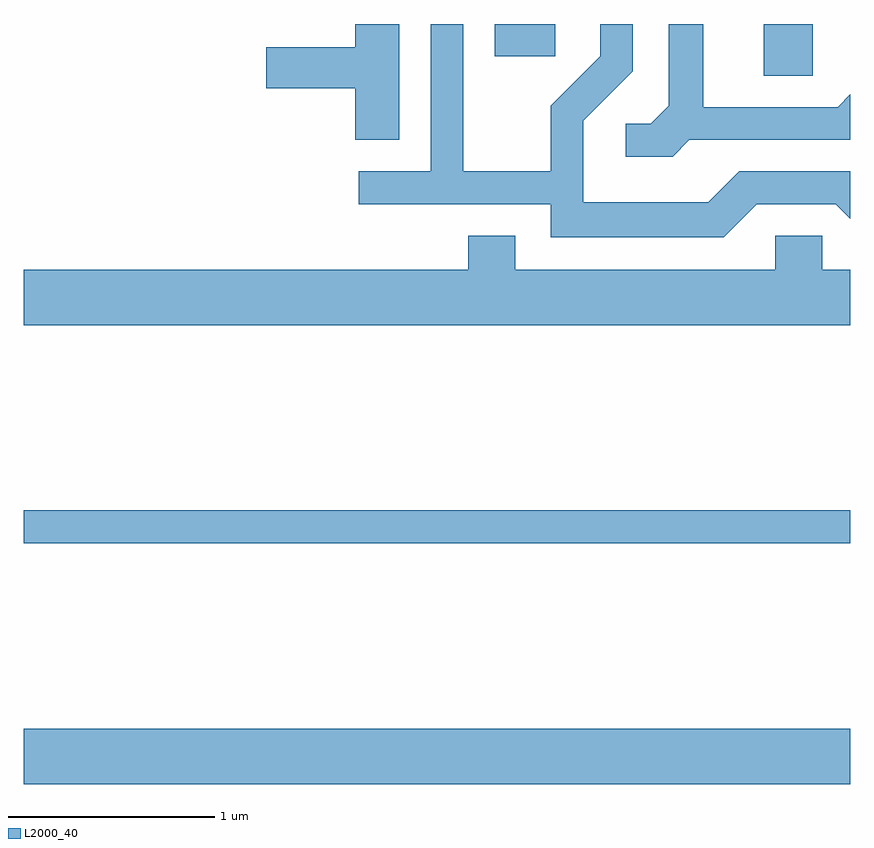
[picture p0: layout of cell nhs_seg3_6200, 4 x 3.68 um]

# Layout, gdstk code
import gdstk
lib = gdstk.Library(unit=1e-6, precision=1e-09)
def R(c, l, rs):  # rectangles x0, y0, x1, y1
    for r in rs: c.add(gdstk.rectangle(r[:2], r[2:], *l))
def P(c, l, *ps):  # polygons
    for p in ps: c.add(gdstk.Polygon(p, *l))
L2000_40 = (2000, 40)

nhs_seg3_6200 = lib.new_cell('nhs_seg3_6200')
R(nhs_seg3_6200, L2000_40, [(367.611,1148.216,371.611,1148.484), (367.611,1149.381,371.611,1149.539), (371.191,1151.641,371.429,1151.892), (369.891,1151.736,370.184,1151.892)])
P(nhs_seg3_6200, L2000_40, [(371.157,1151.021),(371.539,1151.021),(371.611,1150.949),(371.611,1151.179),(371.074,1151.179),(370.924,1151.029),(370.319,1151.029),(370.319,1151.424),(370.559,1151.664),(370.559,1151.892),(370.401,1151.892),(370.401,1151.737),(370.161,1151.497),(370.161,1151.179),(369.739,1151.179),(369.739,1151.892),(369.581,1151.892),(369.581,1151.179),(369.233,1151.179),(369.233,1151.021),(370.161,1151.021),(370.161,1150.861),(370.997,1150.861)],
  [(369.429,1151.892),(369.216,1151.892),(369.216,1151.779),(368.786,1151.779),(368.786,1151.581),(369.216,1151.581),(369.216,1151.331),(369.429,1151.331)],
  [(370.832,1151.331),(371.611,1151.331),(371.611,1151.552),(371.549,1151.489),(370.899,1151.489),(370.899,1151.892),(370.731,1151.892),(370.731,1151.497),(370.644,1151.409),(370.523,1151.409),(370.523,1151.251),(370.752,1151.251)],
  [(371.611,1150.704),(371.474,1150.704),(371.474,1150.869),(371.246,1150.869),(371.246,1150.704),(369.989,1150.704),(369.989,1150.869),(369.761,1150.869),(369.761,1150.704),(367.611,1150.704),(367.611,1150.436),(371.611,1150.436)])

lib.write_gds('nhs_seg3_6200.gds')
